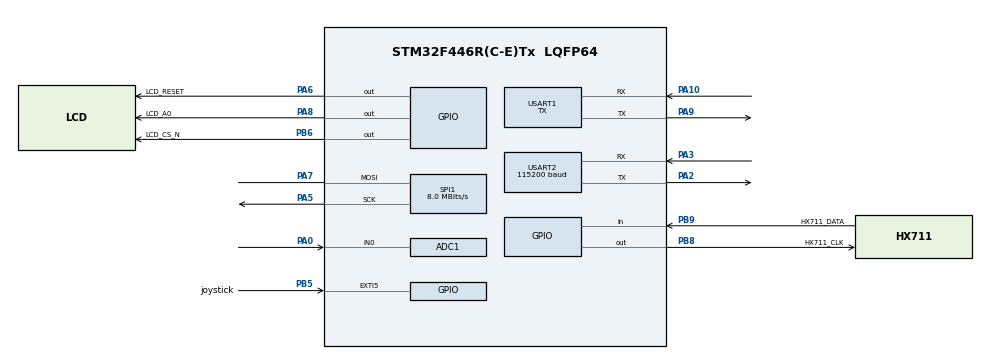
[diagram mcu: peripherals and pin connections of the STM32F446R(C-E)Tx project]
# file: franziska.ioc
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ADC1.Channel-0\#ChannelRegularConversion=ADC_CHANNEL_0
ADC1.Channel-1\#ChannelRegularConversion=ADC_CHANNEL_0
ADC1.NbrOfConversion=2
ADC1.NbrOfConversionFlag=1
ADC1.Rank-0\#ChannelRegularConversion=1
ADC1.Rank-1\#ChannelRegularConversion=2
ADC1.SamplingTime-0\#ChannelRegularConversion=ADC_SAMPLETIME_3CYCLES
ADC1.SamplingTime-1\#ChannelRegularConversion=ADC_SAMPLETIME_3CYCLES
ADC1.ScanConvMode=ENABLE
ADC1.master=1
Mcu.Family=STM32F4
Mcu.Name=STM32F446R(C-E)Tx
Mcu.Package=LQFP64
NVIC.EXTI9_5_IRQn=true\:0\:0\:false\:false\:true\:true\:true
NVIC.PriorityGroup=NVIC_PRIORITYGROUP_4
NVIC.TIM1_BRK_TIM9_IRQn=true\:0\:0\:false\:false\:true\:true\:true
NVIC.TIM1_CC_IRQn=true\:0\:0\:false\:false\:true\:true\:true
NVIC.TIM1_TRG_COM_TIM11_IRQn=true\:0\:0\:false\:false\:true\:true\:true
NVIC.TIM1_UP_TIM10_IRQn=true\:0\:0\:false\:false\:true\:true\:true
NVIC.USART2_IRQn=true\:0\:0\:false\:false\:true\:true\:true
PA0-WKUP.Signal=ADCx_IN0
PA10.Mode=Asynchronous
PA10.Signal=USART1_RX
PA2.Mode=Asynchronous
PA2.Signal=USART2_TX
PA3.Mode=Asynchronous
PA3.Signal=USART2_RX
PA5.Mode=Simplex_Bidirectional_Master
PA5.Signal=SPI1_SCK
PA6.GPIO_Label=LCD_RESET
PA6.Signal=GPIO_Output
PA7.Mode=Simplex_Bidirectional_Master
PA7.Signal=SPI1_MOSI
PA8.GPIO_Label=LCD_A0
PA8.Signal=GPIO_Output
PA9.Mode=Asynchronous
PA9.Signal=USART1_TX
PB5.GPIO_Label=joystick
PB5.Signal=GPXTI5
PB6.GPIO_Label=LCD_CS_N
PB6.Signal=GPIO_Output
PB8.GPIO_Label=HX711_CLK
PB8.Signal=GPIO_Output
PB9.GPIO_Label=HX711_DATA
PB9.Signal=GPIO_Input
ProjectManager.HeapSize=0x200
ProjectManager.StackSize=0x400
ProjectManager.TargetToolchain=STM32CubeIDE
RCC.CortexFreq_Value=16000000
RCC.USBFreq_Value=96000000
RCC.VCOOutputFreq_Value=192000000
SH.ADCx_IN0.0=ADC1_IN0,IN0
SPI1.CalculateBaudRate=8.0 MBits/s
SPI1.Direction=SPI_DIRECTION_1LINE
SPI1.Mode=SPI_MODE_MASTER
SPI1.VirtualType=VM_MASTER
TIM1.Period=49
TIM1.Prescaler=15999
USART1.Mode=MODE_TX
USART1.VirtualMode=VM_ASYNC
USART2.BaudRate=115200
USART2.Mode=MODE_TX
USART2.VirtualMode=VM_ASYNC
VP_TIM1_VS_ClockSourceINT.Mode=Internal
board=custom

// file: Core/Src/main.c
/* USER CODE BEGIN Header */
/**
  ******************************************************************************
  * @file           : main.c
  * @brief          : Main program body
  ******************************************************************************
  * @attention
  *
  * <h2><center>&copy; Copyright (c) 2021 STMicroelectronics.
  * All rights reserved.</center></h2>
  *
  * This software component is licensed by ST under BSD 3-Clause license,
  * the "License"; You may not use this file except in compliance with the
  * License. You may obtain a copy of the License at:
  *                        opensource.org/licenses/BSD-3-Clause
  *
  *Author: Franziska Rothen, franziska.rothen@students.unibe.ch
  *
  *Functionalities:
  * - Navigation through the menu via LCD and joystick
  * - Detection of the size of the glass with a weighing scale
  * - Choice of syrup percentage via potentiometer
  * - Communication with the second microcontroller, giving orders to:
  * 	- Initialize motor
  * 	- Moving the glass to three predefined positions.
  * 	- Open and close valves
  *
  ******************************************************************************
  */
/* USER CODE END Header */
#include "main.h"
#include "adc.h"
#include "spi.h"
#include "tim.h"
#include "usart.h"
#include "gpio.h"

/* USER CODE BEGIN Includes */
#include "stdio.h"
#include "hx711.h"
#include "lcd_driver.h"
#include "menu.h"
#include "poti.h"
#include "scale.h"
#include "comm.h"

/* USER CODE END Includes */

/* USER CODE BEGIN PV */
uint16_t rawValue;
HAL_StatusTypeDef status;
int step = 0;
bool button_state = true;
int percentage;
int weight;
char size;
int isFull;
/* USER CODE END PV */

void SystemClock_Config(void);

int main(void)
{

  /* MCU Configuration--------------------------------------------------------*/

  /* Reset of all peripherals, Initializes the Flash interface and the Systick. */
  HAL_Init();

  /* Configure the system clock */
  SystemClock_Config();

  /* Initialize all configured peripherals */
  MX_GPIO_Init();
  MX_ADC1_Init();
  MX_USART2_UART_Init();
  MX_SPI1_Init();
  MX_TIM1_Init();
  MX_USART1_UART_Init();
  /* USER CODE BEGIN 2 */
  lcd_init();													// initialize the lcd
  initScale();													// initialize scale
  sendMessage("l"); 											// initialize stepper motor
  HAL_Delay(1000);
  sendMessage("l");
  /* USER CODE END 2 */

  /* Infinite loop */
  /* USER CODE BEGIN WHILE */

  lcd_clear();													// clear lcd screen
  welcome_display();											// display welcome message
  status = HAL_OK;

  while (1) 													// Menu navigaion with different menus and functions.
  {
		if(status == HAL_OK){
			if(step == 0)
				menu1_display();								// display welcome message
			else if(step == 1)
				menu2_display();								// prompt to put the glass on the scale
			else if (step == 2)
				weight = getWeight();							// getting the weight
			else if(step == 3)
				size = menu3_display(weight);					// display which glass was chosen
			else if(step == 4){
				status = potiRead(&rawValue);					// initialize poti and start reading the value
				percentage = potiPrint(&rawValue);				// print current chosen syrup percentage
			}
			else if(step == 5){
				status = potiDeInit();							// de-initialize the poti
				menu4_display(percentage);						// display chosen percentage
			}
			else if(step == 6){
				sendMessage("b"); 								// move the glass to next position
				HAL_Delay(2500);
				sendMessage("t"); 								// open valve for syrup
				step ++;
			}
			else if(step == 7){
				weight = getWeight2();							// geting the weight
				isFull = checkWeight(size, weight, percentage);	// checking if the syrup has reached the desired level
				if(isFull){
					sendMessage("z"); 							// close valve for syrup
					HAL_Delay(10);
					sendMessage("b"); 							// move the glass to next position
					HAL_Delay(2500);
					sendMessage("g"); 							// open valve for water
					step ++;
				}
			}
			else if(step == 8){
				weight = getWeight2();							// getting the weight
				isFull = checkWeight2(size, weight, percentage);// checking if the water has reached the desired level
				if(isFull){
					sendMessage("h"); 							// close valve for water
					HAL_Delay(10);
					sendMessage("m"); 							// move glass back
					step ++;
				}
			}
			else if(step > 8){
				menu5_display();								// display final message
			}
		}
		else
			Error_Handler();

    /* USER CODE END WHILE */

  }
}

void SystemClock_Config(void)
{
  RCC_OscInitTypeDef RCC_OscInitStruct = {0};
  RCC_ClkInitTypeDef RCC_ClkInitStruct = {0};

  /** Configure the main internal regulator output voltage
  */
  __HAL_RCC_PWR_CLK_ENABLE();
  __HAL_PWR_VOLTAGESCALING_CONFIG(PWR_REGULATOR_VOLTAGE_SCALE3);
  /** Initializes the RCC Oscillators according to the specified parameters
  * in the RCC_OscInitTypeDef structure.
  */
  RCC_OscInitStruct.OscillatorType = RCC_OSCILLATORTYPE_HSI;
  RCC_OscInitStruct.HSIState = RCC_HSI_ON;
  RCC_OscInitStruct.HSICalibrationValue = RCC_HSICALIBRATION_DEFAULT;
  RCC_OscInitStruct.PLL.PLLState = RCC_PLL_NONE;
  if (HAL_RCC_OscConfig(&RCC_OscInitStruct) != HAL_OK)
  {
    Error_Handler();
  }
  /** Initializes the CPU, AHB and APB buses clocks
  */
  RCC_ClkInitStruct.ClockType = RCC_CLOCKTYPE_HCLK|RCC_CLOCKTYPE_SYSCLK
                              |RCC_CLOCKTYPE_PCLK1|RCC_CLOCKTYPE_PCLK2;
  RCC_ClkInitStruct.SYSCLKSource = RCC_SYSCLKSOURCE_HSI;
  RCC_ClkInitStruct.AHBCLKDivider = RCC_SYSCLK_DIV1;
  RCC_ClkInitStruct.APB1CLKDivider = RCC_HCLK_DIV1;
  RCC_ClkInitStruct.APB2CLKDivider = RCC_HCLK_DIV1;

  if (HAL_RCC_ClockConfig(&RCC_ClkInitStruct, FLASH_LATENCY_0) != HAL_OK)
  {
    Error_Handler();
  }
}

/* USER CODE BEGIN 4 */

// Increment step variable if joystick is pressed. With de-bouncing using TIM1 in interrupt mode.

void HAL_GPIO_EXTI_Callback(uint16_t GPIO_Pin)
{
	if(GPIO_Pin == joystick_Pin && button_state == true){ // Check pin
		HAL_TIM_Base_Start_IT(&htim1);
		button_state = false;
	}
	else{
		__NOP();
	}
}

void HAL_TIM_PeriodElapsedCallback(TIM_HandleTypeDef *htim)
{
	UNUSED(htim);		// Prevent unused argument(s) compilation warning

	if(HAL_GPIO_ReadPin(joystick_GPIO_Port, joystick_Pin) == GPIO_PIN_RESET){
		step ++;
		button_state = true;
		HAL_TIM_Base_Stop_IT(&htim1);
	}
}

/* USER CODE END 4 */

void Error_Handler(void)
{
  __disable_irq();
  while (1)
  {
  }
}

/************************ (C) COPYRIGHT STMicroelectronics *****END OF FILE****/
